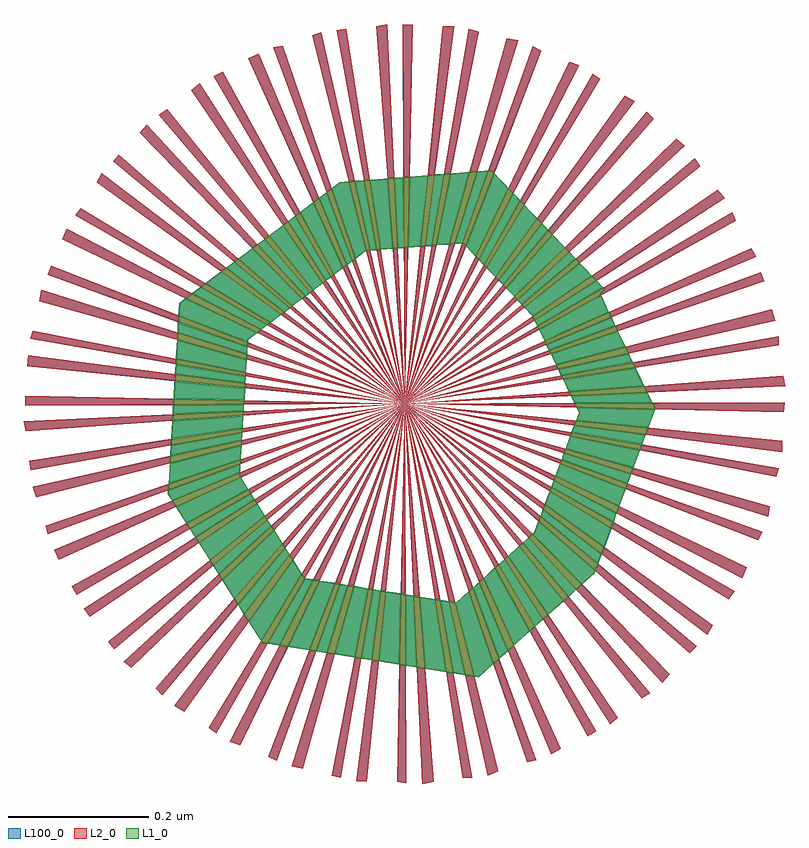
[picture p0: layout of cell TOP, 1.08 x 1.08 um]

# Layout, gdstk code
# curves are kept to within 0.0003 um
import gdstk
lib = gdstk.Library(unit=1e-6, precision=1e-09)
def P(c, l, *ps):  # polygons
    for p in ps: c.add(gdstk.Polygon(p, *l))
L1_0 = (1, 0)
L2_0 = (2, 0)
L100_0 = (100, 0)

top = lib.new_cell('TOP')
P(top, L2_0, [(0.21,2.389),(-0.329,2.401),(0.211,2.403)],
  [(-0.329,2.401),(-0.866,2.454),(-0.865,2.47)],
  [(0.208,2.332),(-0.329,2.401),(0.208,2.348)],
  [(-0.329,2.401),(-0.862,2.493),(-0.858,2.505)],
  [(0.199,2.297),(-0.329,2.401),(0.203,2.309)],
  [(-0.329,2.401),(-0.849,2.547),(-0.846,2.563)],
  [(0.188,2.24),(-0.329,2.401),(0.19,2.255)],
  [(-0.329,2.401),(-0.837,2.584),(-0.832,2.597)],
  [(0.174,2.207),(-0.329,2.401),(0.179,2.219)],
  [(-0.329,2.401),(-0.816,2.635),(-0.81,2.65)],
  [(0.151,2.153),(-0.329,2.401),(0.157,2.168)],
  [(-0.329,2.401),(-0.798,2.669),(-0.79,2.679)],
  [(0.132,2.123),(-0.329,2.401),(0.14,2.134)],
  [(-0.329,2.401),(-0.767,2.716),(-0.76,2.729)],
  [(0.101,2.072),(-0.329,2.401),(0.109,2.086)],
  [(-0.329,2.401),(-0.744,2.746),(-0.736,2.755)],
  [(0.076,2.046),(-0.329,2.401),(0.086,2.056)],
  [(-0.329,2.401),(-0.706,2.786),(-0.696,2.798)],
  [(0.037,2.004),(-0.329,2.401),(0.048,2.016)],
  [(-0.329,2.401),(-0.679,2.812),(-0.667,2.82)],
  [(0.008,1.982),(-0.329,2.401),(0.02,1.989)],
  [(-0.329,2.401),(-0.633,2.847),(-0.621,2.857)],
  [(-0.037,1.945),(-0.329,2.401),(-0.026,1.954)],
  [(-0.329,2.401),(-0.601,2.867),(-0.588,2.873)],
  [(-0.069,1.928),(-0.329,2.401),(-0.057,1.935)],
  [(-0.329,2.401),(-0.552,2.892),(-0.537,2.899)],
  [(-0.121,1.902),(-0.329,2.401),(-0.107,1.91)],
  [(-0.329,2.401),(-0.516,2.908),(-0.503,2.91)],
  [(-0.155,1.891),(-0.329,2.401),(-0.142,1.894)],
  [(-0.329,2.401),(-0.461,2.925),(-0.448,2.929)],
  [(-0.211,1.872),(-0.329,2.401),(-0.196,1.878)],
  [(-0.329,2.401),(-0.426,2.932),(-0.412,2.934)],
  [(-0.247,1.868),(-0.329,2.401),(-0.233,1.869)],
  [(-0.329,2.401),(-0.37,2.938),(-0.354,2.941)],
  [(-0.304,1.86),(-0.329,2.401),(-0.288,1.863)],
  [(-0.474,1.882),(-0.49,1.885),(-0.329,2.401)],
  [(-0.563,1.915),(-0.578,1.92),(-0.329,2.401)],
  [(-0.643,1.963),(-0.657,1.971),(-0.329,2.401)],
  [(-0.42,1.869),(-0.433,1.872),(-0.329,2.401)],
  [(-0.327,1.861),(-0.34,1.863),(-0.329,2.401)],
  [(-0.511,1.893),(-0.523,1.899),(-0.329,2.401)],
  [(-0.718,2.025),(-0.729,2.034),(-0.329,2.401)],
  [(-0.597,1.932),(-0.608,1.94),(-0.329,2.401)],
  [(-0.777,2.098),(-0.786,2.109),(-0.329,2.401)],
  [(-0.742,2.052),(-0.751,2.062),(-0.329,2.401)],
  [(-0.674,1.986),(-0.683,1.996),(-0.329,2.401)],
  [(-0.821,2.179),(-0.828,2.193),(-0.329,2.401)],
  [(-0.796,2.129),(-0.803,2.141),(-0.329,2.401)],
  [(-0.853,2.268),(-0.858,2.283),(-0.329,2.401)],
  [(-0.868,2.362),(-0.871,2.376),(-0.329,2.401)],
  [(-0.837,2.215),(-0.84,2.227),(-0.329,2.401)],
  [(-0.329,2.401),(-0.332,2.941),(-0.318,2.94)],
  [(-0.861,2.306),(-0.863,2.32),(-0.329,2.401)],
  [(-0.869,2.398),(-0.869,2.412),(-0.329,2.401)],
  [(-0.329,2.401),(0.209,2.441),(0.212,2.426)],
  [(-0.329,2.401),(0.203,2.497),(0.203,2.484)],
  [(-0.329,2.401),(0.193,2.535),(0.198,2.519)],
  [(-0.329,2.401),(0.177,2.588),(0.182,2.575)],
  [(-0.329,2.401),(0.164,2.622),(0.171,2.61)],
  [(-0.329,2.401),(0.137,2.673),(0.142,2.661)],
  [(-0.329,2.401),(0.116,2.705),(0.126,2.693)],
  [(-0.329,2.401),(0.083,2.75),(0.091,2.739)],
  [(-0.329,2.401),(0.057,2.778),(0.069,2.768)],
  [(-0.329,2.401),(0.015,2.816),(0.025,2.806)],
  [(-0.329,2.401),(-0.016,2.839),(-0.002,2.831)],
  [(-0.329,2.401),(-0.062,2.87),(-0.051,2.863)],
  [(-0.329,2.401),(-0.095,2.887),(-0.081,2.882)],
  [(-0.329,2.401),(-0.147,2.909),(-0.135,2.903)],
  [(-0.329,2.401),(-0.184,2.921),(-0.168,2.918)],
  [(-0.329,2.401),(-0.238,2.934),(-0.224,2.93)],
  [(-0.398,1.864),(-0.329,2.401),(-0.383,1.864)],
  [(-0.329,2.401),(-0.275,2.938),(-0.259,2.938)])
P(top, L100_0, [(-0.304,1.86),(-0.312,2.026),(-0.328,2.028),(-0.327,1.861),(-0.34,1.863),(-0.337,2.03),(-0.366,2.035),(-0.383,1.864),(-0.398,1.864),(-0.376,2.036),(-0.391,2.039),(-0.42,1.869),(-0.433,1.872),(-0.4,2.04),(-0.429,2.045),(-0.474,1.882),(-0.49,1.885),(-0.44,2.046),(-0.455,2.049),(-0.511,1.893),(-0.523,1.899),(-0.465,2.05),(-0.495,2.055),(-0.563,1.915),(-0.578,1.92),(-0.507,2.057),(-0.524,2.06),(-0.597,1.932),(-0.608,1.94),(-0.533,2.063),(-0.551,2.091),(-0.643,1.963),(-0.657,1.971),(-0.558,2.101),(-0.566,2.115),(-0.674,1.986),(-0.683,1.996),(-0.572,2.123),(-0.589,2.15),(-0.718,2.025),(-0.729,2.034),(-0.594,2.158),(-0.602,2.171),(-0.742,2.052),(-0.751,2.062),(-0.606,2.178),(-0.622,2.203),(-0.777,2.098),(-0.786,2.109),(-0.627,2.211),(-0.635,2.223),(-0.796,2.129),(-0.803,2.141),(-0.64,2.231),(-0.655,2.254),(-0.821,2.179),(-0.828,2.193),(-0.66,2.263),(-0.666,2.272),(-0.666,2.278),(-0.837,2.215),(-0.84,2.227),(-0.665,2.287),(-0.663,2.316),(-0.853,2.268),(-0.858,2.283),(-0.663,2.327),(-0.662,2.342),(-0.861,2.306),(-0.863,2.32),(-0.661,2.351),(-0.66,2.377),(-0.868,2.362),(-0.871,2.376),(-0.659,2.386),(-0.659,2.399),(-0.869,2.398),(-0.869,2.412),(-0.658,2.408),(-0.657,2.433),(-0.866,2.454),(-0.865,2.47),(-0.656,2.443),(-0.655,2.457),(-0.862,2.493),(-0.858,2.505),(-0.655,2.465),(-0.653,2.492),(-0.849,2.547),(-0.846,2.563),(-0.652,2.502),(-0.652,2.517),(-0.837,2.584),(-0.832,2.597),(-0.651,2.526),(-0.65,2.544),(-0.641,2.551),(-0.816,2.635),(-0.81,2.65),(-0.632,2.558),(-0.619,2.567),(-0.798,2.669),(-0.79,2.679),(-0.613,2.572),(-0.59,2.589),(-0.767,2.716),(-0.76,2.729),(-0.583,2.594),(-0.572,2.603),(-0.744,2.746),(-0.736,2.755),(-0.566,2.607),(-0.546,2.622),(-0.706,2.786),(-0.696,2.798),(-0.539,2.628),(-0.528,2.635),(-0.679,2.812),(-0.667,2.82),(-0.522,2.64),(-0.502,2.655),(-0.633,2.847),(-0.621,2.857),(-0.495,2.66),(-0.485,2.668),(-0.601,2.867),(-0.588,2.873),(-0.478,2.673),(-0.459,2.687),(-0.552,2.892),(-0.537,2.899),(-0.451,2.693),(-0.44,2.702),(-0.516,2.908),(-0.503,2.91),(-0.433,2.707),(-0.421,2.716),(-0.409,2.717),(-0.461,2.925),(-0.448,2.929),(-0.4,2.718),(-0.387,2.719),(-0.426,2.932),(-0.412,2.934),(-0.379,2.719),(-0.353,2.721),(-0.37,2.938),(-0.354,2.941),(-0.344,2.722),(-0.331,2.723),(-0.332,2.941),(-0.318,2.94),(-0.322,2.724),(-0.296,2.726),(-0.275,2.938),(-0.259,2.938),(-0.287,2.727),(-0.273,2.728),(-0.238,2.934),(-0.224,2.93),(-0.264,2.728),(-0.237,2.731),(-0.184,2.921),(-0.168,2.918),(-0.226,2.731),(-0.21,2.733),(-0.147,2.909),(-0.135,2.903),(-0.2,2.733),(-0.21,2.733),(-0.211,2.731),(-0.237,2.731),(-0.238,2.728),(-0.273,2.728),(-0.273,2.727),(-0.287,2.727),(-0.296,2.726),(-0.296,2.724),(-0.322,2.724),(-0.331,2.723),(-0.331,2.722),(-0.344,2.722),(-0.353,2.721),(-0.353,2.719),(-0.387,2.719),(-0.387,2.718),(-0.4,2.718),(-0.409,2.717),(-0.406,2.707),(-0.433,2.707),(-0.44,2.702),(-0.437,2.693),(-0.451,2.693),(-0.459,2.687),(-0.453,2.673),(-0.478,2.673),(-0.485,2.668),(-0.48,2.66),(-0.495,2.66),(-0.502,2.655),(-0.492,2.64),(-0.522,2.64),(-0.528,2.635),(-0.522,2.628),(-0.539,2.628),(-0.546,2.622),(-0.531,2.607),(-0.566,2.607),(-0.572,2.603),(-0.561,2.594),(-0.583,2.594),(-0.59,2.589),(-0.566,2.572),(-0.613,2.572),(-0.619,2.567),(-0.603,2.558),(-0.632,2.558),(-0.641,2.551),(-0.589,2.526),(-0.651,2.526),(-0.652,2.517),(-0.61,2.502),(-0.652,2.502),(-0.653,2.492),(-0.558,2.465),(-0.655,2.465),(-0.655,2.457),(-0.573,2.443),(-0.656,2.443),(-0.657,2.433),(-0.556,2.423),(-0.556,2.43),(-0.656,2.443),(-0.573,2.443),(-0.555,2.44),(-0.555,2.445),(-0.655,2.465),(-0.558,2.465),(-0.554,2.464),(-0.553,2.471),(-0.652,2.502),(-0.61,2.502),(-0.553,2.482),(-0.552,2.488),(-0.651,2.526),(-0.589,2.526),(-0.539,2.502),(-0.533,2.506),(-0.632,2.558),(-0.603,2.558),(-0.525,2.513),(-0.52,2.516),(-0.613,2.572),(-0.566,2.572),(-0.505,2.528),(-0.5,2.531),(-0.583,2.594),(-0.561,2.594),(-0.492,2.537),(-0.489,2.54),(-0.566,2.607),(-0.531,2.607),(-0.475,2.55),(-0.47,2.554),(-0.539,2.628),(-0.522,2.628),(-0.463,2.559),(-0.459,2.562),(-0.522,2.64),(-0.492,2.64),(-0.446,2.572),(-0.441,2.576),(-0.495,2.66),(-0.48,2.66),(-0.434,2.581),(-0.43,2.584),(-0.478,2.673),(-0.453,2.673),(-0.417,2.594),(-0.411,2.598),(-0.451,2.693),(-0.437,2.693),(-0.404,2.604),(-0.399,2.607),(-0.433,2.707),(-0.406,2.707),(-0.384,2.618),(-0.378,2.619),(-0.4,2.718),(-0.387,2.718),(-0.369,2.619),(-0.363,2.62),(-0.379,2.719),(-0.353,2.719),(-0.346,2.621),(-0.339,2.622),(-0.344,2.722),(-0.331,2.722),(-0.33,2.622),(-0.324,2.623),(-0.322,2.724),(-0.296,2.724),(-0.307,2.624),(-0.3,2.625),(-0.287,2.727),(-0.273,2.727),(-0.291,2.625),(-0.284,2.626),(-0.264,2.728),(-0.238,2.728),(-0.266,2.627),(-0.258,2.628),(-0.226,2.731),(-0.211,2.731),(-0.247,2.629),(-0.246,2.629),(-0.258,2.628),(-0.258,2.627),(-0.266,2.627),(-0.284,2.626),(-0.284,2.625),(-0.3,2.625),(-0.3,2.624),(-0.324,2.623),(-0.324,2.622),(-0.339,2.622),(-0.339,2.621),(-0.363,2.62),(-0.363,2.619),(-0.378,2.619),(-0.378,2.618),(-0.385,2.618),(-0.399,2.607),(-0.398,2.604),(-0.404,2.604),(-0.411,2.598),(-0.409,2.594),(-0.417,2.594),(-0.43,2.584),(-0.428,2.581),(-0.434,2.581),(-0.441,2.576),(-0.438,2.572),(-0.446,2.572),(-0.459,2.562),(-0.457,2.559),(-0.463,2.559),(-0.47,2.554),(-0.466,2.55),(-0.475,2.55),(-0.489,2.54),(-0.486,2.537),(-0.492,2.537),(-0.5,2.531),(-0.496,2.528),(-0.505,2.528),(-0.52,2.516),(-0.515,2.513),(-0.525,2.513),(-0.533,2.506),(-0.525,2.502),(-0.539,2.502),(-0.552,2.492),(-0.552,2.488),(-0.537,2.482),(-0.553,2.482),(-0.553,2.471),(-0.531,2.464),(-0.554,2.464),(-0.555,2.445),(-0.529,2.44),(-0.555,2.44),(-0.556,2.43),(-0.501,2.423),(-0.556,2.423),(-0.557,2.408),(-0.658,2.408),(-0.659,2.399),(-0.558,2.4),(-0.557,2.406),(-0.658,2.408),(-0.557,2.408),(-0.557,2.406),(-0.329,2.401),(-0.556,2.423),(-0.501,2.423),(-0.329,2.401),(-0.555,2.44),(-0.529,2.44),(-0.329,2.401),(-0.554,2.464),(-0.531,2.464),(-0.329,2.401),(-0.553,2.482),(-0.537,2.482),(-0.329,2.401),(-0.539,2.502),(-0.525,2.502),(-0.329,2.401),(-0.525,2.513),(-0.515,2.513),(-0.329,2.401),(-0.505,2.528),(-0.496,2.528),(-0.329,2.401),(-0.492,2.537),(-0.486,2.537),(-0.329,2.401),(-0.475,2.55),(-0.466,2.55),(-0.329,2.401),(-0.463,2.559),(-0.457,2.559),(-0.329,2.401),(-0.446,2.572),(-0.438,2.572),(-0.329,2.401),(-0.434,2.581),(-0.428,2.581),(-0.329,2.401),(-0.417,2.594),(-0.409,2.594),(-0.329,2.401),(-0.404,2.604),(-0.398,2.604),(-0.329,2.401),(-0.384,2.618),(-0.378,2.618),(-0.329,2.401),(-0.369,2.619),(-0.363,2.619),(-0.329,2.401),(-0.346,2.621),(-0.339,2.621),(-0.329,2.401),(-0.33,2.622),(-0.324,2.622),(-0.329,2.401),(-0.307,2.624),(-0.3,2.624),(-0.329,2.401),(-0.291,2.625),(-0.284,2.625),(-0.329,2.401),(-0.266,2.627),(-0.258,2.627),(-0.329,2.401),(-0.247,2.629),(-0.246,2.629),(-0.242,2.625),(-0.202,2.729),(-0.206,2.733),(-0.2,2.733),(-0.202,2.729),(-0.182,2.707),(-0.095,2.887),(-0.081,2.882),(-0.171,2.707),(-0.182,2.707),(-0.221,2.625),(-0.242,2.625),(-0.329,2.401),(-0.228,2.61),(-0.242,2.625),(-0.221,2.625),(-0.228,2.61),(-0.224,2.606),(-0.175,2.7),(-0.182,2.707),(-0.171,2.707),(-0.175,2.7),(-0.165,2.69),(-0.062,2.87),(-0.051,2.863),(-0.155,2.69),(-0.165,2.69),(-0.212,2.606),(-0.224,2.606),(-0.329,2.401),(-0.217,2.598),(-0.224,2.606),(-0.212,2.606),(-0.217,2.598),(-0.213,2.594),(-0.159,2.684),(-0.165,2.69),(-0.155,2.69),(-0.159,2.684),(-0.141,2.664),(-0.016,2.839),(-0.002,2.831),(-0.129,2.664),(-0.141,2.664),(-0.191,2.594),(-0.213,2.594),(-0.329,2.401),(-0.2,2.581),(-0.213,2.594),(-0.191,2.594),(-0.2,2.581),(-0.196,2.576),(-0.134,2.657),(-0.141,2.664),(-0.129,2.664),(-0.134,2.657),(-0.125,2.648),(0.015,2.816),(0.025,2.806),(-0.113,2.648),(-0.125,2.648),(-0.184,2.576),(-0.196,2.576),(-0.329,2.401),(-0.189,2.57),(-0.196,2.576),(-0.184,2.576),(-0.189,2.57),(-0.185,2.565),(-0.119,2.641),(-0.125,2.648),(-0.113,2.648),(-0.119,2.641),(-0.101,2.623),(0.057,2.778),(0.069,2.768),(-0.088,2.623),(-0.101,2.623),(-0.161,2.565),(-0.185,2.565),(-0.329,2.401),(-0.173,2.553),(-0.185,2.565),(-0.161,2.565),(-0.173,2.553),(-0.169,2.548),(-0.095,2.617),(-0.101,2.623),(-0.088,2.623),(-0.095,2.617),(-0.086,2.607),(0.083,2.75),(0.091,2.739),(-0.073,2.607),(-0.086,2.607),(-0.156,2.548),(-0.169,2.548),(-0.329,2.401),(-0.163,2.542),(-0.169,2.548),(-0.156,2.548),(-0.163,2.542),(-0.159,2.538),(-0.08,2.601),(-0.086,2.607),(-0.073,2.607),(-0.08,2.601),(-0.064,2.583),(-0.063,2.583),(0.116,2.705),(0.126,2.693),(-0.045,2.583),(-0.063,2.583),(-0.128,2.538),(-0.159,2.538),(-0.329,2.401),(-0.147,2.525),(-0.159,2.538),(-0.128,2.538),(-0.147,2.525),(-0.145,2.519),(-0.143,2.521),(-0.06,2.574),(-0.056,2.576),(-0.063,2.583),(-0.045,2.583),(-0.056,2.576),(-0.047,2.566),(0.137,2.673),(0.142,2.661),(-0.03,2.566),(-0.047,2.566),(-0.127,2.519),(-0.145,2.519),(-0.329,2.401),(-0.14,2.511),(-0.145,2.519),(-0.127,2.519),(-0.136,2.514),(-0.14,2.511),(-0.138,2.506),(-0.132,2.51),(-0.06,2.55),(-0.05,2.555),(-0.052,2.557),(-0.045,2.564),(-0.047,2.566),(-0.03,2.566),(-0.05,2.555),(-0.039,2.531),(0.164,2.622),(0.171,2.61),(-0.018,2.531),(-0.039,2.531),(-0.095,2.506),(-0.138,2.506),(-0.329,2.401),(-0.13,2.49),(-0.138,2.506),(-0.095,2.506),(-0.113,2.498),(-0.118,2.495),(-0.13,2.49),(-0.128,2.485),(-0.035,2.524),(-0.039,2.531),(-0.018,2.531),(-0.035,2.524),(-0.03,2.512),(0.177,2.588),(0.182,2.575),(-0.003,2.512),(-0.03,2.512),(-0.103,2.485),(-0.128,2.485),(-0.329,2.401),(-0.124,2.477),(-0.128,2.485),(-0.103,2.485),(-0.124,2.477),(-0.121,2.472),(-0.026,2.504),(-0.03,2.512),(-0.003,2.512),(-0.026,2.504),(-0.015,2.482),(0.193,2.535),(0.198,2.519),(0.033,2.482),(-0.015,2.482),(-0.053,2.472),(-0.121,2.472),(-0.329,2.401),(-0.114,2.456),(-0.121,2.472),(-0.053,2.472),(-0.114,2.456),(-0.111,2.45),(-0.011,2.472),(-0.015,2.482),(0.033,2.482),(-0.011,2.472),(-0.005,2.46),(0.203,2.497),(0.203,2.484),(0.05,2.46),(-0.005,2.46),(-0.059,2.45),(-0.111,2.45),(-0.329,2.401),(-0.107,2.441),(-0.111,2.45),(-0.059,2.45),(-0.107,2.441),(-0.104,2.436),(-0.001,2.452),(-0.005,2.46),(0.05,2.46),(-0.001,2.452),(0.006,2.436),(-0.104,2.436),(-0.329,2.401),(-0.096,2.418),(-0.104,2.436),(0.006,2.436),(0.011,2.426),(0.209,2.441),(0.212,2.426),(0.011,2.426),(-0.096,2.418),(-0.093,2.412),(0.016,2.417),(0.011,2.426),(0.212,2.426),(0.016,2.417),(0.018,2.412),(-0.093,2.412),(-0.329,2.401),(-0.088,2.402),(-0.093,2.412),(0.018,2.412),(0.023,2.402),(0.211,2.403),(0.211,2.402),(-0.088,2.402),(-0.088,2.401),(-0.329,2.401),(-0.558,2.4),(-0.558,2.39),(-0.329,2.401),(-0.478,2.39),(-0.558,2.39),(-0.659,2.386),(-0.66,2.377),(-0.559,2.384),(-0.558,2.39),(-0.478,2.39),(-0.559,2.384),(-0.56,2.366),(-0.329,2.401),(-0.526,2.366),(-0.56,2.366),(-0.661,2.351),(-0.662,2.342),(-0.56,2.36),(-0.56,2.366),(-0.526,2.366),(-0.56,2.36),(-0.561,2.349),(-0.329,2.401),(-0.533,2.349),(-0.561,2.349),(-0.663,2.327),(-0.663,2.316),(-0.561,2.342),(-0.561,2.349),(-0.533,2.349),(-0.561,2.342),(-0.563,2.321),(-0.329,2.401),(-0.547,2.321),(-0.563,2.321),(-0.665,2.287),(-0.666,2.278),(-0.563,2.315),(-0.563,2.321),(-0.547,2.321),(-0.563,2.315),(-0.564,2.303),(-0.329,2.401),(-0.547,2.303),(-0.564,2.303),(-0.66,2.263),(-0.655,2.254),(-0.563,2.296),(-0.564,2.298),(-0.564,2.303),(-0.547,2.303),(-0.563,2.296),(-0.552,2.279),(-0.329,2.401),(-0.538,2.279),(-0.552,2.279),(-0.64,2.231),(-0.635,2.223),(-0.548,2.273),(-0.552,2.279),(-0.538,2.279),(-0.548,2.273),(-0.543,2.264),(-0.329,2.401),(-0.532,2.264),(-0.543,2.264),(-0.627,2.211),(-0.622,2.203),(-0.539,2.259),(-0.543,2.264),(-0.532,2.264),(-0.539,2.259),(-0.528,2.241),(-0.329,2.401),(-0.519,2.241),(-0.528,2.241),(-0.606,2.178),(-0.602,2.171),(-0.525,2.236),(-0.528,2.241),(-0.519,2.241),(-0.525,2.236),(-0.519,2.227),(-0.329,2.401),(-0.509,2.227),(-0.519,2.227),(-0.594,2.158),(-0.589,2.15),(-0.515,2.221),(-0.519,2.227),(-0.509,2.227),(-0.515,2.221),(-0.503,2.202),(-0.329,2.401),(-0.494,2.202),(-0.503,2.202),(-0.572,2.123),(-0.566,2.115),(-0.499,2.196),(-0.503,2.202),(-0.494,2.202),(-0.499,2.196),(-0.493,2.186),(-0.329,2.401),(-0.483,2.186),(-0.493,2.186),(-0.558,2.101),(-0.551,2.091),(-0.488,2.179),(-0.493,2.186),(-0.483,2.186),(-0.488,2.179),(-0.476,2.159),(-0.329,2.401),(-0.468,2.159),(-0.476,2.159),(-0.533,2.063),(-0.532,2.061),(-0.524,2.06),(-0.471,2.153),(-0.472,2.153),(-0.476,2.159),(-0.468,2.159),(-0.471,2.153),(-0.459,2.151),(-0.329,2.401),(-0.449,2.151),(-0.459,2.151),(-0.507,2.057),(-0.495,2.055),(-0.45,2.149),(-0.459,2.151),(-0.449,2.151),(-0.45,2.149),(-0.428,2.146),(-0.329,2.401),(-0.421,2.146),(-0.428,2.146),(-0.465,2.05),(-0.455,2.049),(-0.421,2.145),(-0.428,2.146),(-0.421,2.146),(-0.421,2.145),(-0.41,2.143),(-0.329,2.401),(-0.401,2.143),(-0.41,2.143),(-0.44,2.046),(-0.429,2.045),(-0.401,2.142),(-0.41,2.143),(-0.401,2.143),(-0.401,2.142),(-0.381,2.138),(-0.329,2.401),(-0.374,2.138),(-0.381,2.138),(-0.4,2.04),(-0.391,2.039),(-0.374,2.137),(-0.381,2.138),(-0.374,2.138),(-0.374,2.137),(-0.363,2.135),(-0.329,2.401),(-0.356,2.135),(-0.363,2.135),(-0.376,2.036),(-0.366,2.035),(-0.356,2.134),(-0.363,2.135),(-0.356,2.135),(-0.356,2.134),(-0.335,2.131),(-0.329,2.401),(-0.328,2.131),(-0.335,2.131),(-0.337,2.03),(-0.328,2.028),(-0.328,2.13),(-0.335,2.131),(-0.328,2.131),(-0.328,2.13),(-0.316,2.128),(-0.329,2.401),(-0.308,2.128),(-0.316,2.128),(-0.312,2.026),(-0.3,2.024),(-0.308,2.126),(-0.316,2.128),(-0.308,2.128),(-0.308,2.126),(-0.286,2.123),(-0.329,2.401),(-0.279,2.123),(-0.286,2.123),(-0.27,2.019),(-0.26,2.018),(-0.279,2.122),(-0.286,2.123),(-0.279,2.123),(-0.279,2.122),(-0.266,2.12),(-0.329,2.401),(-0.258,2.12),(-0.266,2.12),(-0.243,2.015),(-0.23,2.013),(-0.257,2.118),(-0.266,2.12),(-0.258,2.12),(-0.257,2.118),(-0.256,2.118),(-0.238,2.134),(-0.329,2.401),(-0.232,2.139),(-0.223,2.147),(-0.329,2.401),(-0.217,2.153),(-0.201,2.168),(-0.329,2.401),(-0.196,2.172),(-0.187,2.18),(-0.329,2.401),(-0.182,2.184),(-0.166,2.199),(-0.329,2.401),(-0.161,2.203),(-0.153,2.21),(-0.329,2.401),(-0.148,2.216),(-0.145,2.218),(-0.139,2.234),(-0.329,2.401),(-0.136,2.241),(-0.133,2.251),(-0.329,2.401),(-0.13,2.258),(-0.123,2.277),(-0.329,2.401),(-0.121,2.282),(-0.117,2.292),(-0.329,2.401),(-0.115,2.298),(-0.108,2.316),(-0.329,2.401),(-0.106,2.321),(-0.103,2.331),(-0.329,2.401),(-0.1,2.337),(-0.094,2.355),(-0.329,2.401),(-0.092,2.36),(-0.088,2.37),(-0.329,2.401),(-0.085,2.377),(-0.081,2.388),(-0.085,2.396),(-0.329,2.401),(-0.088,2.401),(-0.085,2.396),(0.027,2.393),(0.027,2.394),(0.023,2.402),(0.211,2.402),(0.21,2.389),(0.027,2.393),(0.021,2.377),(-0.085,2.377),(-0.088,2.37),(-0.01,2.36),(-0.092,2.36),(-0.094,2.355),(-0.005,2.337),(-0.1,2.337),(-0.103,2.331),(-0.071,2.321),(-0.106,2.321),(-0.108,2.316),(-0.062,2.298),(-0.115,2.298),(-0.117,2.292),(-0.098,2.282),(-0.121,2.282),(-0.123,2.277),(-0.091,2.258),(-0.13,2.258),(-0.133,2.251),(-0.12,2.241),(-0.136,2.241),(-0.139,2.234),(-0.118,2.216),(-0.148,2.216),(-0.153,2.21),(-0.146,2.203),(-0.161,2.203),(-0.166,2.199),(-0.154,2.184),(-0.182,2.184),(-0.187,2.18),(-0.182,2.172),(-0.196,2.172),(-0.201,2.168),(-0.193,2.153),(-0.217,2.153),(-0.223,2.147),(-0.22,2.139),(-0.232,2.139),(-0.238,2.134),(-0.203,2.031),(-0.195,2.038),(-0.232,2.139),(-0.22,2.139),(-0.182,2.049),(-0.174,2.057),(-0.217,2.153),(-0.193,2.153),(-0.151,2.077),(-0.144,2.084),(-0.196,2.172),(-0.182,2.172),(-0.132,2.094),(-0.125,2.101),(-0.182,2.184),(-0.154,2.184),(-0.103,2.12),(-0.096,2.126),(-0.161,2.203),(-0.146,2.203),(-0.085,2.137),(-0.077,2.144),(-0.148,2.216),(-0.118,2.216),(-0.058,2.163),(-0.054,2.173),(-0.136,2.241),(-0.12,2.241),(-0.049,2.187),(-0.045,2.197),(-0.13,2.258),(-0.091,2.258),(-0.035,2.224),(-0.032,2.232),(-0.121,2.282),(-0.098,2.282),(-0.028,2.245),(-0.024,2.255),(-0.115,2.298),(-0.062,2.298),(-0.015,2.28),(-0.012,2.287),(-0.106,2.321),(-0.071,2.321),(-0.007,2.301),(-0.004,2.31),(-0.1,2.337),(-0.005,2.337),(0.005,2.335),(0.008,2.343),(-0.092,2.36),(-0.01,2.36),(0.013,2.357),(0.017,2.367),(-0.085,2.377),(0.021,2.377),(0.017,2.367),(0.208,2.348),(0.208,2.332),(0.013,2.357),(0.008,2.343),(0.203,2.309),(0.199,2.297),(0.005,2.335),(-0.004,2.31),(0.19,2.255),(0.188,2.24),(-0.007,2.301),(-0.012,2.287),(0.179,2.219),(0.174,2.207),(-0.015,2.28),(-0.024,2.255),(0.157,2.168),(0.151,2.153),(-0.028,2.245),(-0.032,2.232),(0.14,2.134),(0.132,2.123),(-0.035,2.224),(-0.045,2.197),(0.109,2.086),(0.101,2.072),(-0.049,2.187),(-0.054,2.173),(0.086,2.056),(0.076,2.046),(-0.058,2.163),(-0.059,2.16),(-0.077,2.144),(0.048,2.016),(0.037,2.004),(-0.085,2.137),(-0.096,2.126),(0.02,1.989),(0.008,1.982),(-0.103,2.12),(-0.125,2.101),(-0.026,1.954),(-0.037,1.945),(-0.132,2.094),(-0.144,2.084),(-0.057,1.935),(-0.069,1.928),(-0.151,2.077),(-0.174,2.057),(-0.107,1.91),(-0.121,1.902),(-0.182,2.049),(-0.195,2.038),(-0.142,1.894),(-0.155,1.891),(-0.203,2.031),(-0.224,2.012),(-0.23,2.013),(-0.196,1.878),(-0.211,1.872),(-0.243,2.015),(-0.26,2.018),(-0.233,1.869),(-0.247,1.868),(-0.27,2.019),(-0.3,2.024),(-0.288,1.863)])
top.add(gdstk.FlexPath([(-0.081,2.529),(-0.226,2.681),(-0.403,2.667),(-0.601,2.518),(-0.615,2.285),(-0.502,2.107),(-0.24,2.065),(-0.102,2.189),(-0.027,2.391),(-0.109,2.561)], 0.1, ends="flush", simple_path=True, layer=1, datatype=0))  # L1_0

lib.write_gds('TOP.gds')
